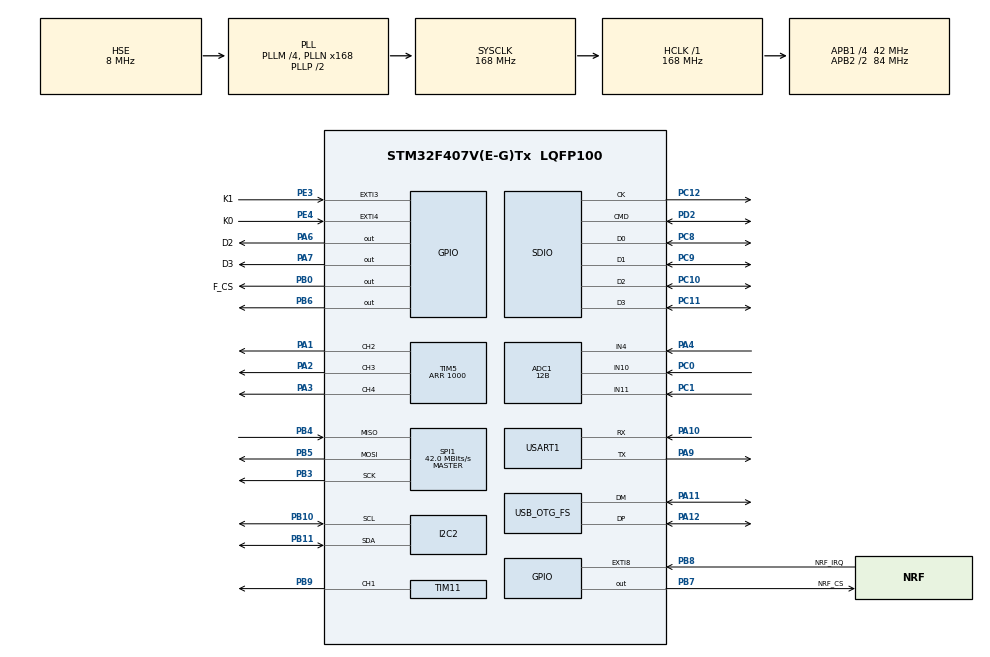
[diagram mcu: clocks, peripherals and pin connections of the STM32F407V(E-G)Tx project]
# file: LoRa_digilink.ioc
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ADC1.Channel-0\#ChannelRegularConversion=ADC_CHANNEL_4
ADC1.Channel-4\#ChannelInjectedConversion=ADC_CHANNEL_10
ADC1.Channel-6\#ChannelInjectedConversion=ADC_CHANNEL_11
ADC1.Channel-7\#ChannelInjectedConversion=ADC_CHANNEL_TEMPSENSOR
ADC1.ClockPrescaler=ADC_CLOCK_SYNC_PCLK_DIV4
ADC1.ContinuousConvMode=DISABLE
ADC1.DMAContinuousRequests=ENABLE
ADC1.DataAlign=ADC_DATAALIGN_RIGHT
ADC1.DiscontinuousConvMode=ENABLE
ADC1.EOCSelection=ADC_EOC_SINGLE_CONV
ADC1.EnableAnalogWatchDog=false
ADC1.ExternalTrigConv=ADC_EXTERNALTRIGCONV_T3_TRGO
ADC1.ExternalTrigConvEdge=ADC_EXTERNALTRIGCONVEDGE_RISING
ADC1.ExternalTrigInjecConv=ADC_INJECTED_SOFTWARE_START
ADC1.ExternalTrigInjecConvEdge=ADC_EXTERNALTRIGINJECCONVEDGE_NONE
ADC1.InjNumberOfConversion=3
ADC1.InjectedConvMode=None
ADC1.InjectedOffset-4\#ChannelInjectedConversion=0
ADC1.InjectedOffset-6\#ChannelInjectedConversion=0
ADC1.InjectedOffset-7\#ChannelInjectedConversion=0
ADC1.NbrOfConversion=1
ADC1.NbrOfConversionFlag=1
ADC1.NbrOfDiscConversion=1
ADC1.Rank-0\#ChannelRegularConversion=1
ADC1.Rank-4\#ChannelInjectedConversion=1
ADC1.Rank-6\#ChannelInjectedConversion=2
ADC1.Rank-7\#ChannelInjectedConversion=3
ADC1.Resolution=ADC_RESOLUTION_12B
ADC1.SamplingTime-0\#ChannelRegularConversion=ADC_SAMPLETIME_112CYCLES
ADC1.SamplingTime-4\#ChannelInjectedConversion=ADC_SAMPLETIME_112CYCLES
ADC1.SamplingTime-6\#ChannelInjectedConversion=ADC_SAMPLETIME_3CYCLES
ADC1.SamplingTime-7\#ChannelInjectedConversion=ADC_SAMPLETIME_3CYCLES
ADC1.ScanConvMode=DISABLE
ADC1.master=1
Dma.ADC1.2.Direction=DMA_PERIPH_TO_MEMORY
Dma.ADC1.2.FIFOMode=DMA_FIFOMODE_DISABLE
Dma.ADC1.2.Instance=DMA2_Stream0
Dma.ADC1.2.MemDataAlignment=DMA_MDATAALIGN_HALFWORD
Dma.ADC1.2.MemInc=DMA_MINC_ENABLE
Dma.ADC1.2.Mode=DMA_NORMAL
Dma.ADC1.2.PeriphDataAlignment=DMA_PDATAALIGN_HALFWORD
Dma.ADC1.2.PeriphInc=DMA_PINC_DISABLE
Dma.ADC1.2.Priority=DMA_PRIORITY_MEDIUM
Dma.Request0=SDIO_RX
Dma.Request1=SDIO_TX
Dma.Request2=ADC1
Dma.SDIO_RX.0.Direction=DMA_PERIPH_TO_MEMORY
Dma.SDIO_RX.0.FIFOMode=DMA_FIFOMODE_ENABLE
Dma.SDIO_RX.0.FIFOThreshold=DMA_FIFO_THRESHOLD_FULL
Dma.SDIO_RX.0.Instance=DMA2_Stream3
Dma.SDIO_RX.0.MemBurst=DMA_MBURST_INC4
Dma.SDIO_RX.0.MemDataAlignment=DMA_MDATAALIGN_WORD
Dma.SDIO_RX.0.MemInc=DMA_MINC_ENABLE
Dma.SDIO_RX.0.Mode=DMA_PFCTRL
Dma.SDIO_RX.0.PeriphBurst=DMA_PBURST_INC4
Dma.SDIO_RX.0.PeriphDataAlignment=DMA_PDATAALIGN_WORD
Dma.SDIO_RX.0.PeriphInc=DMA_PINC_DISABLE
Dma.SDIO_RX.0.Priority=DMA_PRIORITY_LOW
Dma.SDIO_TX.1.Direction=DMA_MEMORY_TO_PERIPH
Dma.SDIO_TX.1.FIFOMode=DMA_FIFOMODE_ENABLE
Dma.SDIO_TX.1.FIFOThreshold=DMA_FIFO_THRESHOLD_FULL
Dma.SDIO_TX.1.Instance=DMA2_Stream6
Dma.SDIO_TX.1.MemBurst=DMA_MBURST_INC4
Dma.SDIO_TX.1.MemDataAlignment=DMA_MDATAALIGN_WORD
Dma.SDIO_TX.1.MemInc=DMA_MINC_ENABLE
Dma.SDIO_TX.1.Mode=DMA_PFCTRL
Dma.SDIO_TX.1.PeriphBurst=DMA_PBURST_INC4
Dma.SDIO_TX.1.PeriphDataAlignment=DMA_PDATAALIGN_WORD
Dma.SDIO_TX.1.PeriphInc=DMA_PINC_DISABLE
Dma.SDIO_TX.1.Priority=DMA_PRIORITY_LOW
FATFS._CODE_PAGE=936
FATFS._MAX_SS=4096
FATFS._USE_LFN=2
FREERTOS.HEAP_NUMBER=4
FREERTOS.Tasks01=defaultTask,0,2048,StartDefaultTask,Default,NULL,Dynamic,NULL,NULL;codec2,-3,3072,StartTask02,Default,NULL,Dynamic,NULL,NULL
FREERTOS.configTOTAL_HEAP_SIZE=0x10000
Mcu.Family=STM32F4
Mcu.Name=STM32F407V(E-G)Tx
Mcu.Package=LQFP100
NVIC.DMA2_Stream0_IRQn=true\:5\:0\:false\:true\:true\:1\:true\:false
NVIC.DMA2_Stream3_IRQn=true\:5\:0\:false\:false\:true\:true\:false
NVIC.DMA2_Stream6_IRQn=true\:5\:0\:false\:false\:true\:true\:false
NVIC.OTG_FS_IRQn=true\:5\:0\:false\:false\:true\:true\:false
NVIC.PriorityGroup=NVIC_PRIORITYGROUP_4
NVIC.SDIO_IRQn=true\:5\:0\:false\:false\:true\:true\:true
NVIC.TIM1_UP_TIM10_IRQn=true\:0\:0\:false\:false\:true\:false\:false
NVIC.TimeBase=TIM1_UP_TIM10_IRQn
NVIC.TimeBaseIP=TIM1
PA0-WKUP.Mode=SYS_WakeUp0
PA0-WKUP.Signal=SYS_WKUP
PA1.Signal=S_TIM5_CH2
PA10.Mode=Asynchronous
PA10.Signal=USART1_RX
PA11.Mode=Device_Only
PA11.Signal=USB_OTG_FS_DM
PA12.Mode=Device_Only
PA12.Signal=USB_OTG_FS_DP
PA13.Mode=Serial_Wire
PA13.Signal=SYS_JTMS-SWDIO
PA14.Mode=Serial_Wire
PA14.Signal=SYS_JTCK-SWCLK
PA2.Signal=S_TIM5_CH3
PA3.Signal=S_TIM5_CH4
PA4.Signal=ADCx_IN4
PA6.GPIO_Label=D2
PA6.PinState=GPIO_PIN_SET
PA6.Signal=GPIO_Output
PA7.GPIO_Label=D3
PA7.PinState=GPIO_PIN_SET
PA7.Signal=GPIO_Output
PA9.Mode=Asynchronous
PA9.Signal=USART1_TX
PB0.GPIO_Label=F_CS
PB0.GPIO_Speed=GPIO_SPEED_FREQ_HIGH
PB0.PinState=GPIO_PIN_SET
PB0.Signal=GPIO_Output
PB10.Mode=I2C
PB10.Signal=I2C2_SCL
PB11.Mode=I2C
PB11.Signal=I2C2_SDA
PB3.Mode=Full_Duplex_Master
PB3.Signal=SPI1_SCK
PB4.Mode=Full_Duplex_Master
PB4.Signal=SPI1_MISO
PB5.Mode=Full_Duplex_Master
PB5.Signal=SPI1_MOSI
PB6.Signal=GPIO_Output
PB7.GPIO_Label=NRF_CS
PB7.Signal=GPIO_Output
PB8.GPIO_Label=NRF_IRQ
PB8.Signal=GPXTI8
PB9.Signal=S_TIM11_CH1
PC0.Signal=ADCx_IN10
PC1.Signal=ADCx_IN11
PC10.Mode=SD_4_bits_Wide_bus
PC10.Signal=SDIO_D2
PC11.Mode=SD_4_bits_Wide_bus
PC11.Signal=SDIO_D3
PC12.Mode=SD_4_bits_Wide_bus
PC12.Signal=SDIO_CK
PC14-OSC32_IN.Mode=LSE-External-Oscillator
PC14-OSC32_IN.Signal=RCC_OSC32_IN
PC15-OSC32_OUT.Mode=LSE-External-Oscillator
PC15-OSC32_OUT.Signal=RCC_OSC32_OUT
PC8.Mode=SD_4_bits_Wide_bus
PC8.Signal=SDIO_D0
PC9.Mode=SD_4_bits_Wide_bus
PC9.Signal=SDIO_D1
PD2.Mode=SD_4_bits_Wide_bus
PD2.Signal=SDIO_CMD
PE3.GPIO_Label=K1
PE3.GPIO_ModeDefaultEXTI=GPIO_MODE_IT_RISING_FALLING
PE3.Signal=GPXTI3
PE4.GPIO_Label=K0
PE4.GPIO_ModeDefaultEXTI=GPIO_MODE_IT_RISING_FALLING
PE4.Signal=GPXTI4
PH0-OSC_IN.Mode=HSE-External-Oscillator
PH0-OSC_IN.Signal=RCC_OSC_IN
PH1-OSC_OUT.Mode=HSE-External-Oscillator
PH1-OSC_OUT.Signal=RCC_OSC_OUT
ProjectManager.HeapSize=0x800
ProjectManager.StackSize=0x400
ProjectManager.TargetToolchain=MDK-ARM V5
RCC.48MHZClocksFreq_Value=48000000
RCC.AHBFreq_Value=168000000
RCC.APB1CLKDivider=RCC_HCLK_DIV4
RCC.APB1Freq_Value=42000000
RCC.APB1TimFreq_Value=84000000
RCC.APB2CLKDivider=RCC_HCLK_DIV2
RCC.APB2Freq_Value=84000000
RCC.APB2TimFreq_Value=168000000
RCC.CortexFreq_Value=168000000
RCC.HCLKFreq_Value=168000000
RCC.HSE_VALUE=8000000
RCC.HSI_VALUE=16000000
RCC.PLLM=4
RCC.PLLN=168
RCC.PLLQ=7
RCC.RCC_RTC_Clock_SourceVirtual=RCC_RTCCLKSOURCE_LSE
RCC.RCC_RTC_Clock_Source_FROM_HSE=RCC_RTCCLKSOURCE_HSE_DIV20
RCC.SYSCLKFreq_VALUE=168000000
RCC.SYSCLKSource=RCC_SYSCLKSOURCE_PLLCLK
RCC.VCOOutputFreq_Value=336000000
RTC.Format=RTC_FORMAT_BIN
SH.ADCx_IN10.0=ADC1_IN10,IN10
SH.ADCx_IN11.0=ADC1_IN11,IN11
SH.ADCx_IN4.0=ADC1_IN4,IN4
SH.S_TIM11_CH1.0=TIM11_CH1,PWM Generation1 CH1
SH.S_TIM5_CH2.0=TIM5_CH2,PWM Generation2 CH2
SH.S_TIM5_CH3.0=TIM5_CH3,PWM Generation3 CH3
SH.S_TIM5_CH4.0=TIM5_CH4,PWM Generation4 CH4
SPI1.BaudRatePrescaler=SPI_BAUDRATEPRESCALER_2
SPI1.CLKPhase=SPI_PHASE_2EDGE
SPI1.CLKPolarity=SPI_POLARITY_HIGH
SPI1.CalculateBaudRate=42.0 MBits/s
SPI1.Direction=SPI_DIRECTION_2LINES
SPI1.Mode=SPI_MODE_MASTER
SPI1.VirtualType=VM_MASTER
TIM11.Channel=TIM_CHANNEL_1
TIM11.Period=3500
TIM3.Period=10500
TIM3.TIM_MasterOutputTrigger=TIM_TRGO_UPDATE
TIM5.Channel-PWM\ Generation2\ CH2=TIM_CHANNEL_2
TIM5.Channel-PWM\ Generation3\ CH3=TIM_CHANNEL_3
TIM5.Channel-PWM\ Generation4\ CH4=TIM_CHANNEL_4
TIM5.Period=1000
USART1.VirtualMode=VM_ASYNC
USB_DEVICE.CLASS_NAME_FS=CDC
USB_DEVICE.VirtualMode-CDC_FS=Cdc
USB_DEVICE.VirtualModeFS=Cdc_FS
USB_OTG_FS.VirtualMode=Device_Only
VP_ADC1_TempSens_Input.Mode=IN-TempSens
VP_ADC1_Vbat_Input.Mode=IN-Vbat
VP_ADC1_Vref_Input.Mode=IN-Vrefint
VP_FATFS_VS_SDIO.Mode=SDIO
VP_FREERTOS_VS_ENABLE.Mode=Enabled
VP_RNG_VS_RNG.Mode=RNG_Activate
VP_RTC_VS_RTC_Activate.Mode=RTC_Enabled
VP_RTC_VS_RTC_Calendar.Mode=RTC_Calendar
VP_SYS_VS_tim1.Mode=TIM1
VP_TIM11_VS_ClockSourceINT.Mode=Enable_Timer
VP_TIM3_VS_ClockSourceINT.Mode=Internal
VP_TIM5_VS_ClockSourceINT.Mode=Internal
VP_USB_DEVICE_VS_USB_DEVICE_CDC_FS.Mode=CDC_FS
board=LoRa_digilink

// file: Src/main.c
/**
  ******************************************************************************
  * @file           : main.c
  * @brief          : Main program body
  ******************************************************************************
  * This notice applies to any and all portions of this file
  * that are not between comment pairs USER CODE BEGIN and
  * USER CODE END. Other portions of this file, whether
  * inserted by the user or by software development tools
  * are owned by their respective copyright owners.
  *
  * Copyright (c) 2019 STMicroelectronics International N.V.
  * All rights reserved.
  *
  * Redistribution and use in source and binary forms, with or without
  * modification, are permitted, provided that the following conditions are met:
  *
  * 1. Redistribution of source code must retain the above copyright notice,
  *    this list of conditions and the following disclaimer.
  * 2. Redistributions in binary form must reproduce the above copyright notice,
  *    this list of conditions and the following disclaimer in the documentation
  *    and/or other materials provided with the distribution.
  * 3. Neither the name of STMicroelectronics nor the names of other
  *    contributors to this software may be used to endorse or promote products
  *    derived from this software without specific written permission.
  * 4. This software, including modifications and/or derivative works of this
  *    software, must execute solely and exclusively on microcontroller or
  *    microprocessor devices manufactured by or for STMicroelectronics.
  * 5. Redistribution and use of this software other than as permitted under
  *    this license is void and will automatically terminate your rights under
  *    this license.
  *
  * THIS SOFTWARE IS PROVIDED BY STMICROELECTRONICS AND CONTRIBUTORS "AS IS"
  * AND ANY EXPRESS, IMPLIED OR STATUTORY WARRANTIES, INCLUDING, BUT NOT
  * LIMITED TO, THE IMPLIED WARRANTIES OF MERCHANTABILITY, FITNESS FOR A
  * PARTICULAR PURPOSE AND NON-INFRINGEMENT OF THIRD PARTY INTELLECTUAL PROPERTY
  * RIGHTS ARE DISCLAIMED TO THE FULLEST EXTENT PERMITTED BY LAW. IN NO EVENT
  * SHALL STMICROELECTRONICS OR CONTRIBUTORS BE LIABLE FOR ANY DIRECT, INDIRECT,
  * INCIDENTAL, SPECIAL, EXEMPLARY, OR CONSEQUENTIAL DAMAGES (INCLUDING, BUT NOT
  * LIMITED TO, PROCUREMENT OF SUBSTITUTE GOODS OR SERVICES; LOSS OF USE, DATA,
  * OR PROFITS; OR BUSINESS INTERRUPTION) HOWEVER CAUSED AND ON ANY THEORY OF
  * LIABILITY, WHETHER IN CONTRACT, STRICT LIABILITY, OR TORT (INCLUDING
  * NEGLIGENCE OR OTHERWISE) ARISING IN ANY WAY OUT OF THE USE OF THIS SOFTWARE,
  * EVEN IF ADVISED OF THE POSSIBILITY OF SUCH DAMAGE.
  *
  ******************************************************************************
  */
#include "main.h"
#include "stm32f4xx_hal.h"
#include "cmsis_os.h"
#include "fatfs.h"
#include "usb_device.h"

/* USER CODE BEGIN Includes */
#include "usbd_cdc_if.h"
#include "stm32f4xx_hal_rtc.h"
#include <stdio.h>
#include "W25QXX.h"
#include "defines.h"
//#include "codec2.h"
#include "c2enc.h"
#include "codec2.h"
#include "myadc.h"
/* USER CODE END Includes */

ADC_HandleTypeDef hadc1;
DMA_HandleTypeDef hdma_adc1;

I2C_HandleTypeDef hi2c2;

RNG_HandleTypeDef hrng;

RTC_HandleTypeDef hrtc;

SD_HandleTypeDef hsd;
DMA_HandleTypeDef hdma_sdio_rx;
DMA_HandleTypeDef hdma_sdio_tx;

SPI_HandleTypeDef hspi1;

TIM_HandleTypeDef htim3;
TIM_HandleTypeDef htim5;
TIM_HandleTypeDef htim11;

UART_HandleTypeDef huart1;

osThreadId defaultTaskHandle;
osThreadId codec2Handle;

/* USER CODE BEGIN PV */
/* Private variables ---------------------------------------------------------*/
//FIL  fin,fout;
volatile uint8_t codec2_flag=1;
uint8_t encoding_flag;
/* USER CODE END PV */

void SystemClock_Config(void);
static void MX_GPIO_Init(void);
static void MX_DMA_Init(void);
static void MX_SDIO_SD_Init(void);
static void MX_ADC1_Init(void);
static void MX_RTC_Init(void);
static void MX_SPI1_Init(void);
static void MX_USART1_UART_Init(void);
static void MX_I2C2_Init(void);
static void MX_RNG_Init(void);
static void MX_TIM5_Init(void);
static void MX_TIM11_Init(void);
static void MX_TIM3_Init(void);
void StartDefaultTask(void const * argument);
void StartTask02(void const * argument);
static void MX_NVIC_Init(void);

void HAL_TIM_MspPostInit(TIM_HandleTypeDef *htim);

/* USER CODE BEGIN PFP */
/* Private function prototypes -----------------------------------------------*/

/* USER CODE END PFP */

/* USER CODE BEGIN 0 */
int fputc(int ch, FILE *f)
{
	uint8_t cdc_tx[1];
	cdc_tx[0]=ch;
	uint32_t timeout = 100000;
	while( CDC_Transmit_FS(cdc_tx, 1) != USBD_OK && timeout--);
	return ch;
}
/* USER CODE END 0 */

int main(void)
{

  /* MCU Configuration----------------------------------------------------------*/

  /* Reset of all peripherals, Initializes the Flash interface and the Systick. */
  HAL_Init();

  /* Configure the system clock */
  SystemClock_Config();

  /* Initialize all configured peripherals */
  MX_GPIO_Init();
  MX_DMA_Init();
  MX_SDIO_SD_Init();
  MX_ADC1_Init();
  MX_RTC_Init();
  MX_SPI1_Init();
  MX_USART1_UART_Init();
  MX_I2C2_Init();
  MX_RNG_Init();
  MX_TIM5_Init();
  MX_TIM11_Init();
  MX_TIM3_Init();

  /* Initialize interrupts */
  MX_NVIC_Init();

  /* Create the thread(s) */
  /* definition and creation of defaultTask */
  osThreadDef(defaultTask, StartDefaultTask, osPriorityNormal, 0, 512);
  defaultTaskHandle = osThreadCreate(osThread(defaultTask), NULL);

  /* definition and creation of codec2 */
  osThreadDef(codec2, StartTask02, osPriorityLow, 0, 3072);
  codec2Handle = osThreadCreate(osThread(codec2), NULL);

  /* Start scheduler */
  osKernelStart();

  /* We should never get here as control is now taken by the scheduler */

  /* Infinite loop */
  while (1)
  {

  }

}

void SystemClock_Config(void)
{

  RCC_OscInitTypeDef RCC_OscInitStruct;
  RCC_ClkInitTypeDef RCC_ClkInitStruct;
  RCC_PeriphCLKInitTypeDef PeriphClkInitStruct;

    /**Configure the main internal regulator output voltage
    */
  __HAL_RCC_PWR_CLK_ENABLE();

  __HAL_PWR_VOLTAGESCALING_CONFIG(PWR_REGULATOR_VOLTAGE_SCALE1);

    /**Initializes the CPU, AHB and APB busses clocks
    */
  RCC_OscInitStruct.OscillatorType = RCC_OSCILLATORTYPE_HSE|RCC_OSCILLATORTYPE_LSE;
  RCC_OscInitStruct.HSEState = RCC_HSE_ON;
  RCC_OscInitStruct.LSEState = RCC_LSE_ON;
  RCC_OscInitStruct.PLL.PLLState = RCC_PLL_ON;
  RCC_OscInitStruct.PLL.PLLSource = RCC_PLLSOURCE_HSE;
  RCC_OscInitStruct.PLL.PLLM = 4;
  RCC_OscInitStruct.PLL.PLLN = 168;
  RCC_OscInitStruct.PLL.PLLP = RCC_PLLP_DIV2;
  RCC_OscInitStruct.PLL.PLLQ = 7;
  if (HAL_RCC_OscConfig(&RCC_OscInitStruct) != HAL_OK)
  {
    _Error_Handler(__FILE__, __LINE__);
  }

    /**Initializes the CPU, AHB and APB busses clocks
    */
  RCC_ClkInitStruct.ClockType = RCC_CLOCKTYPE_HCLK|RCC_CLOCKTYPE_SYSCLK
                              |RCC_CLOCKTYPE_PCLK1|RCC_CLOCKTYPE_PCLK2;
  RCC_ClkInitStruct.SYSCLKSource = RCC_SYSCLKSOURCE_PLLCLK;
  RCC_ClkInitStruct.AHBCLKDivider = RCC_SYSCLK_DIV1;
  RCC_ClkInitStruct.APB1CLKDivider = RCC_HCLK_DIV4;
  RCC_ClkInitStruct.APB2CLKDivider = RCC_HCLK_DIV2;

  if (HAL_RCC_ClockConfig(&RCC_ClkInitStruct, FLASH_LATENCY_5) != HAL_OK)
  {
    _Error_Handler(__FILE__, __LINE__);
  }

  PeriphClkInitStruct.PeriphClockSelection = RCC_PERIPHCLK_RTC;
  PeriphClkInitStruct.RTCClockSelection = RCC_RTCCLKSOURCE_LSE;
  if (HAL_RCCEx_PeriphCLKConfig(&PeriphClkInitStruct) != HAL_OK)
  {
    _Error_Handler(__FILE__, __LINE__);
  }

    /**Configure the Systick interrupt time
    */
  HAL_SYSTICK_Config(HAL_RCC_GetHCLKFreq()/1000);

    /**Configure the Systick
    */
  HAL_SYSTICK_CLKSourceConfig(SYSTICK_CLKSOURCE_HCLK);

  /* SysTick_IRQn interrupt configuration */
  HAL_NVIC_SetPriority(SysTick_IRQn, 15, 0);
}

/**
  * @brief NVIC Configuration.
  * @retval None
  */
static void MX_NVIC_Init(void)
{
  /* DMA2_Stream0_IRQn interrupt configuration */
  HAL_NVIC_SetPriority(DMA2_Stream0_IRQn, 5, 0);
  HAL_NVIC_EnableIRQ(DMA2_Stream0_IRQn);
}

/* ADC1 init function */
static void MX_ADC1_Init(void)
{

  ADC_ChannelConfTypeDef sConfig;
  ADC_InjectionConfTypeDef sConfigInjected;

    /**Configure the global features of the ADC (Clock, Resolution, Data Alignment and number of conversion)
    */
  hadc1.Instance = ADC1;
  hadc1.Init.ClockPrescaler = ADC_CLOCK_SYNC_PCLK_DIV4;
  hadc1.Init.Resolution = ADC_RESOLUTION_12B;
  hadc1.Init.ScanConvMode = DISABLE;
  hadc1.Init.ContinuousConvMode = DISABLE;
  hadc1.Init.DiscontinuousConvMode = ENABLE;
  hadc1.Init.NbrOfDiscConversion = 1;
  hadc1.Init.ExternalTrigConvEdge = ADC_EXTERNALTRIGCONVEDGE_RISING;
  hadc1.Init.ExternalTrigConv = ADC_EXTERNALTRIGCONV_T3_TRGO;
  hadc1.Init.DataAlign = ADC_DATAALIGN_RIGHT;
  hadc1.Init.NbrOfConversion = 1;
  hadc1.Init.DMAContinuousRequests = ENABLE;
  hadc1.Init.EOCSelection = ADC_EOC_SINGLE_CONV;
  if (HAL_ADC_Init(&hadc1) != HAL_OK)
  {
    _Error_Handler(__FILE__, __LINE__);
  }

    /**Configure for the selected ADC regular channel its corresponding rank in the sequencer and its sample time.
    */
  sConfig.Channel = ADC_CHANNEL_4;
  sConfig.Rank = 1;
  sConfig.SamplingTime = ADC_SAMPLETIME_112CYCLES;
  if (HAL_ADC_ConfigChannel(&hadc1, &sConfig) != HAL_OK)
  {
    _Error_Handler(__FILE__, __LINE__);
  }

    /**Configures for the selected ADC injected channel its corresponding rank in the sequencer and its sample time
    */
  sConfigInjected.InjectedChannel = ADC_CHANNEL_10;
  sConfigInjected.InjectedRank = 1;
  sConfigInjected.InjectedNbrOfConversion = 3;
  sConfigInjected.InjectedSamplingTime = ADC_SAMPLETIME_112CYCLES;
  sConfigInjected.ExternalTrigInjecConvEdge = ADC_EXTERNALTRIGINJECCONVEDGE_NONE;
  sConfigInjected.ExternalTrigInjecConv = ADC_INJECTED_SOFTWARE_START;
  sConfigInjected.AutoInjectedConv = DISABLE;
  sConfigInjected.InjectedDiscontinuousConvMode = DISABLE;
  sConfigInjected.InjectedOffset = 0;
  if (HAL_ADCEx_InjectedConfigChannel(&hadc1, &sConfigInjected) != HAL_OK)
  {
    _Error_Handler(__FILE__, __LINE__);
  }

    /**Configures for the selected ADC injected channel its corresponding rank in the sequencer and its sample time
    */
  sConfigInjected.InjectedChannel = ADC_CHANNEL_11;
  sConfigInjected.InjectedRank = 2;
  sConfigInjected.InjectedSamplingTime = ADC_SAMPLETIME_3CYCLES;
  if (HAL_ADCEx_InjectedConfigChannel(&hadc1, &sConfigInjected) != HAL_OK)
  {
    _Error_Handler(__FILE__, __LINE__);
  }

    /**Configures for the selected ADC injected channel its corresponding rank in the sequencer and its sample time
    */
  sConfigInjected.InjectedChannel = ADC_CHANNEL_TEMPSENSOR;
  sConfigInjected.InjectedRank = 3;
  if (HAL_ADCEx_InjectedConfigChannel(&hadc1, &sConfigInjected) != HAL_OK)
  {
    _Error_Handler(__FILE__, __LINE__);
  }

}

/* I2C2 init function */
static void MX_I2C2_Init(void)
{

  hi2c2.Instance = I2C2;
  hi2c2.Init.ClockSpeed = 100000;
  hi2c2.Init.DutyCycle = I2C_DUTYCYCLE_2;
  hi2c2.Init.OwnAddress1 = 0;
  hi2c2.Init.AddressingMode = I2C_ADDRESSINGMODE_7BIT;
  hi2c2.Init.DualAddressMode = I2C_DUALADDRESS_DISABLE;
  hi2c2.Init.OwnAddress2 = 0;
  hi2c2.Init.GeneralCallMode = I2C_GENERALCALL_DISABLE;
  hi2c2.Init.NoStretchMode = I2C_NOSTRETCH_DISABLE;
  if (HAL_I2C_Init(&hi2c2) != HAL_OK)
  {
    _Error_Handler(__FILE__, __LINE__);
  }

}

/* RNG init function */
static void MX_RNG_Init(void)
{

  hrng.Instance = RNG;
  if (HAL_RNG_Init(&hrng) != HAL_OK)
  {
    _Error_Handler(__FILE__, __LINE__);
  }

}

/* RTC init function */
static void MX_RTC_Init(void)
{

  RTC_TimeTypeDef sTime;
  RTC_DateTypeDef sDate;

    /**Initialize RTC Only
    */
  hrtc.Instance = RTC;
if(HAL_RTCEx_BKUPRead(&hrtc, RTC_BKP_DR0) != 0x32F2){
  hrtc.Init.HourFormat = RTC_HOURFORMAT_24;
  hrtc.Init.AsynchPrediv = 127;
  hrtc.Init.SynchPrediv = 255;
  hrtc.Init.OutPut = RTC_OUTPUT_DISABLE;
  hrtc.Init.OutPutPolarity = RTC_OUTPUT_POLARITY_HIGH;
  hrtc.Init.OutPutType = RTC_OUTPUT_TYPE_OPENDRAIN;
  if (HAL_RTC_Init(&hrtc) != HAL_OK)
  {
    _Error_Handler(__FILE__, __LINE__);
  }

    /**Initialize RTC and set the Time and Date
    */
  sTime.Hours = 0;
  sTime.Minutes = 0;
  sTime.Seconds = 0;
  sTime.DayLightSaving = RTC_DAYLIGHTSAVING_NONE;
  sTime.StoreOperation = RTC_STOREOPERATION_RESET;
  if (HAL_RTC_SetTime(&hrtc, &sTime, RTC_FORMAT_BIN) != HAL_OK)
  {
    _Error_Handler(__FILE__, __LINE__);
  }

  sDate.WeekDay = RTC_WEEKDAY_MONDAY;
  sDate.Month = RTC_MONTH_JANUARY;
  sDate.Date = 1;
  sDate.Year = 0;

  if (HAL_RTC_SetDate(&hrtc, &sDate, RTC_FORMAT_BIN) != HAL_OK)
  {
    _Error_Handler(__FILE__, __LINE__);
  }

    HAL_RTCEx_BKUPWrite(&hrtc,RTC_BKP_DR0,0x32F2);
  }

}

/* SDIO init function */
static void MX_SDIO_SD_Init(void)
{

  hsd.Instance = SDIO;
  hsd.Init.ClockEdge = SDIO_CLOCK_EDGE_RISING;
  hsd.Init.ClockBypass = SDIO_CLOCK_BYPASS_DISABLE;
  hsd.Init.ClockPowerSave = SDIO_CLOCK_POWER_SAVE_DISABLE;
  hsd.Init.BusWide = SDIO_BUS_WIDE_1B;
  hsd.Init.HardwareFlowControl = SDIO_HARDWARE_FLOW_CONTROL_DISABLE;
  hsd.Init.ClockDiv = 0;

}

/* SPI1 init function */
static void MX_SPI1_Init(void)
{

  /* SPI1 parameter configuration*/
  hspi1.Instance = SPI1;
  hspi1.Init.Mode = SPI_MODE_MASTER;
  hspi1.Init.Direction = SPI_DIRECTION_2LINES;
  hspi1.Init.DataSize = SPI_DATASIZE_8BIT;
  hspi1.Init.CLKPolarity = SPI_POLARITY_HIGH;
  hspi1.Init.CLKPhase = SPI_PHASE_2EDGE;
  hspi1.Init.NSS = SPI_NSS_SOFT;
  hspi1.Init.BaudRatePrescaler = SPI_BAUDRATEPRESCALER_2;
  hspi1.Init.FirstBit = SPI_FIRSTBIT_MSB;
  hspi1.Init.TIMode = SPI_TIMODE_DISABLE;
  hspi1.Init.CRCCalculation = SPI_CRCCALCULATION_DISABLE;
  hspi1.Init.CRCPolynomial = 10;
  if (HAL_SPI_Init(&hspi1) != HAL_OK)
  {
    _Error_Handler(__FILE__, __LINE__);
  }

}

/* TIM3 init function */
static void MX_TIM3_Init(void)
{

  TIM_ClockConfigTypeDef sClockSourceConfig;
  TIM_MasterConfigTypeDef sMasterConfig;

  htim3.Instance = TIM3;
  htim3.Init.Prescaler = 0;
  htim3.Init.CounterMode = TIM_COUNTERMODE_UP;
  htim3.Init.Period = 10500;
  htim3.Init.ClockDivision = TIM_CLOCKDIVISION_DIV1;
  if (HAL_TIM_Base_Init(&htim3) != HAL_OK)
  {
    _Error_Handler(__FILE__, __LINE__);
  }

  sClockSourceConfig.ClockSource = TIM_CLOCKSOURCE_INTERNAL;
  if (HAL_TIM_ConfigClockSource(&htim3, &sClockSourceConfig) != HAL_OK)
  {
    _Error_Handler(__FILE__, __LINE__);
  }

  sMasterConfig.MasterOutputTrigger = TIM_TRGO_UPDATE;
  sMasterConfig.MasterSlaveMode = TIM_MASTERSLAVEMODE_DISABLE;
  if (HAL_TIMEx_MasterConfigSynchronization(&htim3, &sMasterConfig) != HAL_OK)
  {
    _Error_Handler(__FILE__, __LINE__);
  }

}

/* TIM5 init function */
static void MX_TIM5_Init(void)
{

  TIM_ClockConfigTypeDef sClockSourceConfig;
  TIM_MasterConfigTypeDef sMasterConfig;
  TIM_OC_InitTypeDef sConfigOC;

  htim5.Instance = TIM5;
  htim5.Init.Prescaler = 0;
  htim5.Init.CounterMode = TIM_COUNTERMODE_UP;
  htim5.Init.Period = 1000;
  htim5.Init.ClockDivision = TIM_CLOCKDIVISION_DIV1;
  if (HAL_TIM_Base_Init(&htim5) != HAL_OK)
  {
    _Error_Handler(__FILE__, __LINE__);
  }

  sClockSourceConfig.ClockSource = TIM_CLOCKSOURCE_INTERNAL;
  if (HAL_TIM_ConfigClockSource(&htim5, &sClockSourceConfig) != HAL_OK)
  {
    _Error_Handler(__FILE__, __LINE__);
  }

  if (HAL_TIM_PWM_Init(&htim5) != HAL_OK)
  {
    _Error_Handler(__FILE__, __LINE__);
  }

  sMasterConfig.MasterOutputTrigger = TIM_TRGO_RESET;
  sMasterConfig.MasterSlaveMode = TIM_MASTERSLAVEMODE_DISABLE;
  if (HAL_TIMEx_MasterConfigSynchronization(&htim5, &sMasterConfig) != HAL_OK)
  {
    _Error_Handler(__FILE__, __LINE__);
  }

  sConfigOC.OCMode = TIM_OCMODE_PWM1;
  sConfigOC.Pulse = 0;
  sConfigOC.OCPolarity = TIM_OCPOLARITY_HIGH;
  sConfigOC.OCFastMode = TIM_OCFAST_DISABLE;
  if (HAL_TIM_PWM_ConfigChannel(&htim5, &sConfigOC, TIM_CHANNEL_2) != HAL_OK)
  {
    _Error_Handler(__FILE__, __LINE__);
  }

  if (HAL_TIM_PWM_ConfigChannel(&htim5, &sConfigOC, TIM_CHANNEL_3) != HAL_OK)
  {
    _Error_Handler(__FILE__, __LINE__);
  }

  if (HAL_TIM_PWM_ConfigChannel(&htim5, &sConfigOC, TIM_CHANNEL_4) != HAL_OK)
  {
    _Error_Handler(__FILE__, __LINE__);
  }

  HAL_TIM_MspPostInit(&htim5);

}

/* TIM11 init function */
static void MX_TIM11_Init(void)
{

  TIM_OC_InitTypeDef sConfigOC;

  htim11.Instance = TIM11;
  htim11.Init.Prescaler = 0;
  htim11.Init.CounterMode = TIM_COUNTERMODE_UP;
  htim11.Init.Period = 3500;
  htim11.Init.ClockDivision = TIM_CLOCKDIVISION_DIV1;
  if (HAL_TIM_Base_Init(&htim11) != HAL_OK)
  {
    _Error_Handler(__FILE__, __LINE__);
  }

  if (HAL_TIM_PWM_Init(&htim11) != HAL_OK)
  {
    _Error_Handler(__FILE__, __LINE__);
  }

  sConfigOC.OCMode = TIM_OCMODE_PWM1;
  sConfigOC.Pulse = 0;
  sConfigOC.OCPolarity = TIM_OCPOLARITY_HIGH;
  sConfigOC.OCFastMode = TIM_OCFAST_DISABLE;
  if (HAL_TIM_PWM_ConfigChannel(&htim11, &sConfigOC, TIM_CHANNEL_1) != HAL_OK)
  {
    _Error_Handler(__FILE__, __LINE__);
  }

  HAL_TIM_MspPostInit(&htim11);

}

/* USART1 init function */
static void MX_USART1_UART_Init(void)
{

  huart1.Instance = USART1;
  huart1.Init.BaudRate = 115200;
  huart1.Init.WordLength = UART_WORDLENGTH_8B;
  huart1.Init.StopBits = UART_STOPBITS_1;
  huart1.Init.Parity = UART_PARITY_NONE;
  huart1.Init.Mode = UART_MODE_TX_RX;
  huart1.Init.HwFlowCtl = UART_HWCONTROL_NONE;
  huart1.Init.OverSampling = UART_OVERSAMPLING_16;
  if (HAL_UART_Init(&huart1) != HAL_OK)
  {
    _Error_Handler(__FILE__, __LINE__);
  }

}

static void MX_DMA_Init(void)
{
  /* DMA controller clock enable */
  __HAL_RCC_DMA2_CLK_ENABLE();

  /* DMA interrupt init */
  /* DMA2_Stream3_IRQn interrupt configuration */
  HAL_NVIC_SetPriority(DMA2_Stream3_IRQn, 5, 0);
  HAL_NVIC_EnableIRQ(DMA2_Stream3_IRQn);
  /* DMA2_Stream6_IRQn interrupt configuration */
  HAL_NVIC_SetPriority(DMA2_Stream6_IRQn, 5, 0);
  HAL_NVIC_EnableIRQ(DMA2_Stream6_IRQn);

}

/** Configure pins as
        * Analog
        * Input
        * Output
        * EVENT_OUT
        * EXTI
*/
static void MX_GPIO_Init(void)
{

  GPIO_InitTypeDef GPIO_InitStruct;

  /* GPIO Ports Clock Enable */
  __HAL_RCC_GPIOE_CLK_ENABLE();
  __HAL_RCC_GPIOC_CLK_ENABLE();
  __HAL_RCC_GPIOH_CLK_ENABLE();
  __HAL_RCC_GPIOA_CLK_ENABLE();
  __HAL_RCC_GPIOB_CLK_ENABLE();
  __HAL_RCC_GPIOD_CLK_ENABLE();

  /*Configure GPIO pin Output Level */
  HAL_GPIO_WritePin(GPIOA, D2_Pin|D3_Pin, GPIO_PIN_SET);

  /*Configure GPIO pin Output Level */
  HAL_GPIO_WritePin(F_CS_GPIO_Port, F_CS_Pin, GPIO_PIN_SET);

  /*Configure GPIO pin Output Level */
  HAL_GPIO_WritePin(GPIOB, GPIO_PIN_6|NRF_CS_Pin, GPIO_PIN_RESET);

  /*Configure GPIO pins : K1_Pin K0_Pin */
  GPIO_InitStruct.Pin = K1_Pin|K0_Pin;
  GPIO_InitStruct.Mode = GPIO_MODE_IT_RISING_FALLING;
  GPIO_InitStruct.Pull = GPIO_NOPULL;
  HAL_GPIO_Init(GPIOE, &GPIO_InitStruct);

  /*Configure GPIO pins : D2_Pin D3_Pin */
  GPIO_InitStruct.Pin = D2_Pin|D3_Pin;
  GPIO_InitStruct.Mode = GPIO_MODE_OUTPUT_PP;
  GPIO_InitStruct.Pull = GPIO_NOPULL;
  GPIO_InitStruct.Speed = GPIO_SPEED_FREQ_LOW;
  HAL_GPIO_Init(GPIOA, &GPIO_InitStruct);

  /*Configure GPIO pin : F_CS_Pin */
  GPIO_InitStruct.Pin = F_CS_Pin;
  GPIO_InitStruct.Mode = GPIO_MODE_OUTPUT_PP;
  GPIO_InitStruct.Pull = GPIO_NOPULL;
  GPIO_InitStruct.Speed = GPIO_SPEED_FREQ_HIGH;
  HAL_GPIO_Init(F_CS_GPIO_Port, &GPIO_InitStruct);

  /*Configure GPIO pins : PB6 NRF_CS_Pin */
  GPIO_InitStruct.Pin = GPIO_PIN_6|NRF_CS_Pin;
  GPIO_InitStruct.Mode = GPIO_MODE_OUTPUT_PP;
  GPIO_InitStruct.Pull = GPIO_NOPULL;
  GPIO_InitStruct.Speed = GPIO_SPEED_FREQ_LOW;
  HAL_GPIO_Init(GPIOB, &GPIO_InitStruct);

  /*Configure GPIO pin : NRF_IRQ_Pin */
  GPIO_InitStruct.Pin = NRF_IRQ_Pin;
  GPIO_InitStruct.Mode = GPIO_MODE_IT_RISING;
  GPIO_InitStruct.Pull = GPIO_NOPULL;
  HAL_GPIO_Init(NRF_IRQ_GPIO_Port, &GPIO_InitStruct);

}

/* StartDefaultTask function */
void StartDefaultTask(void const * argument)
{
  /* init code for FATFS */
  MX_FATFS_Init();

  /* init code for USB_DEVICE */
  //MX_USB_DEVICE_Init();

  /* USER CODE BEGIN 5 */
	long size;
	long size_readed;
	long size_writed;
	//char *text;
	//float fbuf;
	//FIL fin;
	//short *buf;
	uint8_t byte0=0;
	//uint16_t *voice_data=(uint16_t*)pvPortMalloc(640*sizeof(uint16_t));
	MX_SDIO_SD_Init();
	BSP_SD_Init();
	FRESULT res;
	f_mount(&SDFatFS, (TCHAR const*)SDPath, 1);
	//f_open(&SDFile, "0:/record.raw", FA_WRITE | FA_CREATE_ALWAYS);
	//HAL_GPIO_WritePin(D2_GPIO_Port, D2_Pin, GPIO_PIN_SET);
	//HAL_GPIO_WritePin(D3_GPIO_Port, D3_Pin, GPIO_PIN_SET);
	osDelay(3000);
	//HAL_GPIO_WritePin(F_CS_GPIO_Port, F_CS_Pin, GPIO_PIN_RESET);
	/*erase();
	write_codebook(newamp1vq_cb[0].cb, newamp1vq_cb0, 20*512);
	write_codebook(newamp1vq_cb[1].cb, newamp1vq_cb1, 20*512);
	write_codebook(newamp2vq_cb[0].cb, newamp2vq_cb0, 41*500);
	printf("erase_OK\r\n");
	write_codebook(lsp_cbjvm[0].cb, lsp_cbjvm0, 10*512);
	write_codebook(lsp_cbjvm[1].cb, lsp_cbjvm1, 5*512);
	write_codebook(lsp_cbjvm[2].cb, lsp_cbjvm2, 5*512);*/
	//HAL_GPIO_WritePin(F_CS_GPIO_Port, F_CS_Pin, GPIO_PIN_RESET);
	/*for(int i=0;i<20*512;i++) {
		if(read_afloat(i+newamp1vq_cb0) != newamp1vq_cb[0].cb[i]) {
			printf("A%i,%f != %f\r\n", i, read_afloat(i+newamp1vq_cb0), newamp1vq_cb[0].cb[i]);
		}
	}
	for(int i=0;i<20*512;i++) {
		if(read_afloat(i+newamp1vq_cb1) != newamp1vq_cb[1].cb[i]) {
			printf("B%i,%f != %f\r\n", i, read_afloat(i+newamp1vq_cb1), newamp1vq_cb[1].cb[i]);
		}
	}
	for(int i=0;i<41*500;i++) {
		if(read_afloat(i+newamp2vq_cb0) != newamp2vq_cb[0].cb[i]) {
			printf("C%i,%f != %f\r\n", i, read_afloat(i+newamp2vq_cb0), newamp2vq_cb[0].cb[i]);
		}
	}
	for(int i=0;i<10*512;i++) {
		if(read_afloat(i+lsp_cbjvm0) != lsp_cbjvm[0].cb[i]) {
			printf("D%i,%f != %f", i, read_afloat(i+lsp_cbjvm0), lsp_cbjvm[0].cb[i]);
		}
	}
	for(int i=0;i<5*512;i++) {
		if(read_afloat(i+lsp_cbjvm1) != lsp_cbjvm[1].cb[i]) {
			printf("E%i,%f != %f", i, read_afloat(i+lsp_cbjvm1), lsp_cbjvm[1].cb[i]);
		}
	}
	for(int i=0;i<5*512;i++) {
		if(read_afloat(i+lsp_cbjvm2) != lsp_cbjvm[2].cb[i]) {
			printf("F%i,%f != %f", i, read_afloat(i+lsp_cbjvm2), lsp_cbjvm[2].cb[i]);
		}
	}
	TickType_t t1=xTaskGetTickCount();
	printf("ticks_%d\r\n",t1-t0);*/
	//uint8_t cdc_tx_buf[128];
	//uint8_t cdc_rx_buf[128];
  //int32_t utc_time;
	HAL_TIM_PWM_Start(&htim5,TIM_CHANNEL_2);//RGB LED
	HAL_TIM_PWM_Start(&htim5,TIM_CHANNEL_3);
	HAL_TIM_PWM_Start(&htim5,TIM_CHANNEL_4);
	HAL_RTC_Init(&hrtc);
	//RTC_TimeTypeDef sTime0;
	//RTC_TimeTypeDef sTime1;
	//RTC_DateTypeDef sDate;
  /* Infinite loop */
	uint16_t t=0;
	uint8_t p_m=1;
	//HAL_RTC_GetTime(&hrtc,&sTime0,RTC_FORMAT_BIN);
	/*if(f_open(&fin, "0:/in.raw", FA_READ) == FR_OK) {
		printf("res1==FR_OK");
	}*/
	__HAL_TIM_SetCompare(&htim5, TIM_CHANNEL_2, 500);//Red Light
	//HAL_GPIO_WritePin(D2_GPIO_Port, D2_Pin, GPIO_PIN_RESET);
	//HAL_GPIO_WritePin(D3_GPIO_Port, D3_Pin, GPIO_PIN_RESET);
	osSignalSet(codec2Handle, 0x0004);
	//HAL_TIM_Base_Start(&htim3);
	//HAL_ADC_Start_DMA(&hadc1, (uint32_t*)voice_data, 320*2);
	osDelay(1000);
	//f_write(&SDFile, voice_data, 640*sizeof(uint16_t), (UINT*)&size_writed);//write encoded data
	//HAL_GPIO_WritePin(D3_GPIO_Port, D3_Pin, GPIO_PIN_RESET);
	//f_close(&SDFile);
	codec2_flag=0;
	/*//TickType_t t0=xTaskGetTickCount();
	//c2enc();
	//TickType_t t1=xTaskGetTickCount();
  buf = (short*)pvPortMalloc(320*sizeof(short));
	f_open(&fin, "0:/in.raw", FA_READ);
	f_read(&fin, buf, 320*sizeof(short), (UINT*)&size_readed);
		while(size_readed==320*sizeof(short)){
			  //printf("0x%02x%02x%02x\r\n",bits[0],bits[1],bits[2]);
		    printf("%d,%d,rd=%ld\r\n",buf[0],buf[1],size_readed);
		    HAL_GPIO_WritePin(D2_GPIO_Port, D2_Pin, GPIO_PIN_RESET);
        //f_write(&fout, bits, nbyte*sizeof(char), (UINT*)&size_writed);
		    f_read(&fin, buf, 320*sizeof(short), (UINT*)&size_readed);
			  HAL_GPIO_WritePin(D2_GPIO_Port, D2_Pin, GPIO_PIN_SET);
		}*/
	__HAL_TIM_SetCompare(&htim5, TIM_CHANNEL_2, 0);//Green Light
	__HAL_TIM_SetCompare(&htim5, TIM_CHANNEL_3, 500);
	osThreadSuspend(defaultTaskHandle);
	//HAL_RTC_GetTime(&hrtc,&sTime1,RTC_FORMAT_BIN);
  for(;;)
  {
		/*if(p_m) {
			t+=20;
			if(t==1000) {
				p_m=0;
			}
		}
		else {
			t-=20;
			if(t==0) {
				p_m=1;
			}
		}*/
		/*//HAL_RTC_GetTime(&hrtc,&sTime,RTC_FORMAT_BIN);
		//HAL_RTC_GetDate(&hrtc,&sDate,RTC_FORMAT_BIN);
		//printf("%02d-%2d-%2d,%2d:%02d:%02d.%03d\n",sDate.Year,sDate.Month,sDate.Date,
		//                                          sTime.Hours,sTime.Minutes,sTime.Seconds,sTime.SubSeconds);
		//printf("%2d:%02d:%02d - %2d:%02d:%02d",sTime0.Hours,sTime0.Minutes,sTime0.Seconds,sTime1.Hours,sTime1.Minutes,sTime1.Seconds);
		//printf("%dms\r\n",t1-t0);
		//printf("123");
		//CDC_Receive_FS();*/
		/*__HAL_TIM_SetCompare(&htim5, TIM_CHANNEL_2, t);
		__HAL_TIM_SetCompare(&htim5, TIM_CHANNEL_3, 1000-t);
		__HAL_TIM_SetCompare(&htim5, TIM_CHANNEL_4, 0);*/
		//printf("size=%ld,size_readed=%ld,text=%s\n", size, size_readed, text);
    osDelay(300);
  }
  /* USER CODE END 5 */
}

/* StartTask02 function */
void StartTask02(void const * argument)
{
  /* USER CODE BEGIN StartTask02 */
	uint16_t *voice_data;
	short *buf;
  unsigned char *bits;
	uint16_t nsam, nbit, nbyte;
  void *codec2;
	uint32_t size_writed;
	FIL fout;
	TickType_t t0,t1;
	codec2 = codec2_create(CODEC2_MODE_450);
	nsam = 320;//codec2_samples_per_frame(codec2);
	nbit = 18;//codec2_bits_per_frame(codec2);
	nbyte = (nbit + 7) / 8;
	//printf("nsam=%d,nbit=%d\r\n",nsam,nbit);
	osSignalWait(0x0004, osWaitForever);//Start
	bits = (unsigned char*)pvPortMalloc(nbyte*sizeof(char));
	voice_data = (uint16_t*)pvPortMalloc(nsam*2*sizeof(uint16_t));
	buf = (short*)pvPortMalloc(nsam*sizeof(short));
	f_open(&fout, "0:/voice.raw", FA_WRITE | FA_CREATE_ALWAYS);
	HAL_TIM_Base_Start(&htim3);
	codec2_flag=1;
	HAL_ADC_Start_DMA(&hadc1, (uint32_t*)voice_data, nsam*2);
	/* Infinite loop */
  for(;;)
  {
		if(codec2_flag)
		{
			//osThreadSuspend(codec2Handle);
			osSignalWait(0x0001, 200);//HalfCplt
			HAL_GPIO_TogglePin(D3_GPIO_Port, D3_Pin);
			//codec2_encode(codec2, bits, buf);
			f_write(&fout, voice_data, nsam*sizeof(uint16_t), (UINT*)&size_writed);
			if(size_writed == nsam*sizeof(uint16_t))
				HAL_GPIO_WritePin(D2_GPIO_Port, D2_Pin, GPIO_PIN_RESET);
			else
				HAL_GPIO_WritePin(D2_GPIO_Port, D2_Pin, GPIO_PIN_SET);
			//osThreadSuspend(codec2Handle);
			osSignalWait(0x0002, 200);//Cplt
			HAL_ADC_Start_DMA(&hadc1, (uint32_t*)voice_data, nsam*2);
			//codec2_encode(codec2, bits, buf);
			f_write(&fout, voice_data+nsam, nsam*sizeof(uint16_t), (UINT*)&size_writed);
			if(size_writed == nsam*sizeof(uint16_t))
				HAL_GPIO_WritePin(D2_GPIO_Port, D2_Pin, GPIO_PIN_RESET);
			else
				HAL_GPIO_WritePin(D2_GPIO_Port, D2_Pin, GPIO_PIN_SET);
			//codec2_flag=0;
		}
		else
		{
			f_close(&fout);
			HAL_GPIO_WritePin(D2_GPIO_Port, D2_Pin, GPIO_PIN_SET);
			//osThreadSuspend(codec2Handle);
			osSignalWait(0x0004, osWaitForever);//Start
			f_open(&fout, "0:/voice.raw", FA_WRITE | FA_CREATE_ALWAYS);
			codec2_flag=1;
			HAL_ADC_Start_DMA(&hadc1, (uint32_t*)voice_data, nsam*2);
		}
    osDelay(1);
  }
  /* USER CODE END StartTask02 */
}

void HAL_TIM_PeriodElapsedCallback(TIM_HandleTypeDef *htim)
{
  if (htim->Instance == TIM1) {
    HAL_IncTick();
  }
}

void _Error_Handler(char *file, int line)
{
  while(1)
  {
  }
}

/************************ (C) COPYRIGHT STMicroelectronics *****END OF FILE****/
